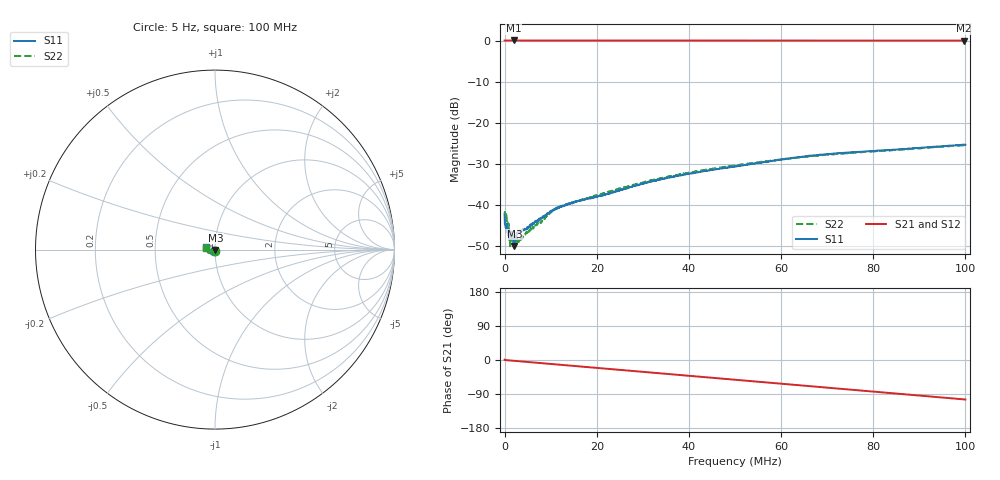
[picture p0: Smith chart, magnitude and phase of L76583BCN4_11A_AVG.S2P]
!Agilent Technologies,E5061B,MY49102235,A.02.00
!Date: Tue Jul 11 17:05:55 2023
!Data & Calibration Information:
!Freq	S11:SOLT2(ON)	S21:SOLT2(ON)	S12:SOLT2(ON)	S22:SOLT2(ON)
# Hz S RI R 50
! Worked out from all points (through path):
!   1600 points, 5 Hz to 100 MHz, reference 50 ohm
!   highest |S21| = 0.02 dB at 2.001 MHz (marker M1); lowest = 0.0 dB at 99.75 MHz (marker M2)
!   group delay of S21, straight-line fit = 2.9 ns
!   lowest |S11| = -50.0 dB at 2.126 MHz (marker M3), VSWR 1.01, Z = 50.3 - j0.173 ohm
!   |S11| at or under -10 dB: start of sweep to end of sweep
!   |S22| runs from -50.1 to -25.5 dB; largest |S21 - S12| = 0.0028
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5  -0.00515 -0.00564  1.002 0.00797  1.001 0.0102  -0.00145 -0.00756
437778.6  0.00517 -0.000322  1.001 -0.00569  1.001 -0.00625  0.00662 -0.00198
625395.8  0.00512 -0.000272  1.002 -0.0108  1.002 -0.0104  0.00612 -0.000629
1000630  0.00374 -0.000191  1.001 -0.0172  1.001 -0.0165  0.00511 -0.00112
1500943  0.00432 -0.00163  1.001 -0.026  1.001 -0.0256  0.003 -0.00279
1688560  0.00384 -0.00172  1.001 -0.0305  1.001 -0.0302  0.00356 -0.00257
2001256  0.00302 -0.00164  1.002 -0.0364  1.001 -0.0359  0.00316 -0.00137
2126334  0.00265 -0.00172  1.001 -0.0388  1 -0.0379  0.00382 -0.00114
2439029  0.00376 -0.0016  0.9999 -0.0448  0.9993 -0.044  0.00362 -0.00114
2939342  0.00423 -0.00188  0.9996 -0.0533  0.9991 -0.053  0.00317 -0.00152
3314576  0.00431 -0.0021  0.9993 -0.0601  0.9989 -0.0597  0.00328 -0.00187
4690436  0.0039 -0.0032  0.9976 -0.0851  0.9971 -0.0848  0.00363 -0.00288
8255164  0.00285 -0.00654  0.99 -0.1496  0.9897 -0.1493  0.00264 -0.00607
1.025641e7  0.00187 -0.00804  0.984 -0.1855  0.9837 -0.1849  0.00112 -0.00828
1.282052e7  0.000664 -0.00975  0.9739 -0.2312  0.9738 -0.2305  -0.000288 -0.00998
1.669794e7  -0.00119 -0.0113  0.955 -0.299  0.9548 -0.2985  -0.0016 -0.0114
3.333334e7  -0.00943 -0.0178  0.8226 -0.5699  0.8224 -0.5693  -0.00825 -0.0189
5.003127e7  -0.0212 -0.0202  0.6144 -0.7898  0.6144 -0.7893  -0.0216 -0.021
6.672921e7  -0.0363 -0.0167  0.3495 -0.9369  0.3499 -0.9366  -0.0356 -0.0163
8.33646e7  -0.0463 -0.00403  0.0544 -0.998  0.0546 -0.9979  -0.0457 -0.00526
9.974984e7  -0.0527 0.0118  -0.2416 -0.9689  -0.2411 -0.9689  -0.0521 0.01
1e8  -0.0527 0.012  -0.246 -0.968  -0.2456 -0.9679  -0.0523 0.0104
